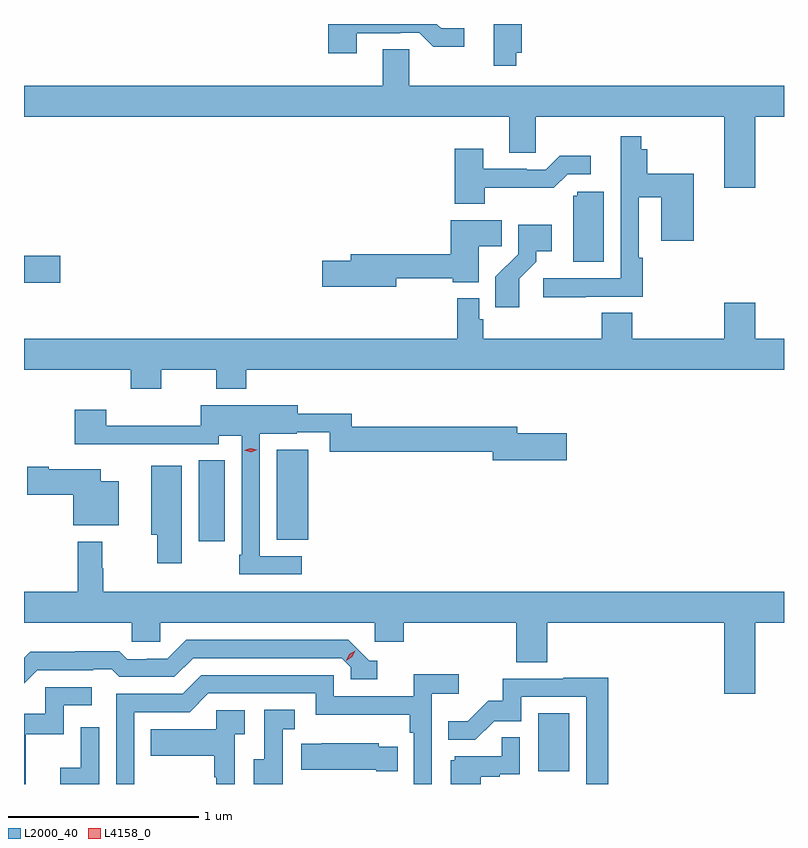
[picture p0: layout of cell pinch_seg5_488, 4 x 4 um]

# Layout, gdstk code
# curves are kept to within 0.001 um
import gdstk
lib = gdstk.Library(unit=1e-6, precision=1e-09)
def R(c, l, rs):  # rectangles x0, y0, x1, y1
    for r in rs: c.add(gdstk.rectangle(r[:2], r[2:], *l))
def P(c, l, *ps):  # polygons
    for p in ps: c.add(gdstk.Polygon(p, *l))
L2000_40 = (2000, 40)
L4158_0 = (4158, 0)

pinch_seg5_488 = lib.new_cell('pinch_seg5_488')
R(pinch_seg5_488, L2000_40, [(895.298,835.998,895.462,836.305), (893.51,837.21,893.647,837.635), (893.921,837.217,894.088,837.691), (892.591,838.57,892.783,838.712)])
P(pinch_seg5_488, L2000_40, [(895.181,839.78),(895.211,839.78),(895.211,839.932),(895.064,839.932),(895.064,839.712),(895.181,839.712)],
  [(894.343,839.883),(894.572,839.883),(894.572,839.886),(894.672,839.886),(894.745,839.813),(894.907,839.813),(894.907,839.91),(894.786,839.91),(894.764,839.932),(894.191,839.932),(894.191,839.778),(894.343,839.778)],
  [(896.44,839.444),(896.591,839.444),(896.591,839.608),(894.618,839.608),(894.618,839.798),(894.479,839.798),(894.479,839.608),(892.591,839.608),(892.591,839.444),(895.145,839.444),(895.145,839.254),(895.284,839.254),(895.284,839.444),(896.276,839.444),(896.276,839.07),(896.44,839.07)],
  [(895.547,838.497),(895.847,838.497),(895.847,838.703),(895.827,838.703),(895.827,839.021),(895.946,839.021),(895.946,838.791),(896.117,838.791),(896.117,839.143),(895.872,839.143),(895.872,839.272),(895.84,839.272),(895.84,839.341),(895.731,839.341),(895.731,838.593),(895.323,838.593),(895.323,838.495),(895.547,838.495)],
  [(895.017,839.07),(895.379,839.069),(895.452,839.142),(895.573,839.142),(895.573,839.239),(895.411,839.239),(895.338,839.166),(895.238,839.166),(895.238,839.169),(895.009,839.169),(895.009,839.275),(894.857,839.275),(894.857,838.985),(895.017,838.985)],
  [(895.642,839.049),(895.503,839.049),(895.503,839.028),(895.481,839.028),(895.481,838.68),(895.642,838.68)],
  [(894.55,838.593),(894.848,838.593),(894.848,838.574),(894.985,838.574),(894.985,838.762),(895.106,838.762),(895.106,838.9),(894.836,838.9),(894.836,838.721),(894.311,838.721),(894.311,838.685),(894.162,838.685),(894.162,838.55),(894.55,838.55)],
  [(895.198,838.591),(895.288,838.681),(895.288,838.736),(895.369,838.736),(895.369,838.876),(895.191,838.876),(895.191,838.721),(895.072,838.602),(895.072,838.44),(895.198,838.44)],
  [(896.591,838.276),(896.44,838.276),(896.44,838.465),(896.276,838.465),(896.276,838.276),(895.791,838.276),(895.791,838.412),(895.631,838.412),(895.631,838.276),(895.007,838.276),(895.007,838.377),(894.987,838.377),(894.987,838.489),(894.871,838.489),(894.871,838.276),(892.591,838.276),(892.591,838.112),(893.153,838.112),(893.153,838.013),(893.313,838.013),(893.313,838.112),(893.602,838.112),(893.602,838.013),(893.762,838.013),(893.762,838.112),(896.591,838.112)],
  [(894.052,837.132),(893.832,837.132),(893.832,837.776),(894.027,837.776),(894.027,837.783),(894.201,837.783),(894.201,837.682),(895.058,837.682),(895.058,837.635),(895.447,837.635),(895.447,837.777),(895.186,837.777),(895.186,837.811),(894.317,837.811),(894.317,837.882),(894.031,837.882),(894.031,837.925),(893.52,837.925),(893.52,837.818),(893.024,837.818),(893.024,837.901),(892.859,837.901),(892.859,837.719),(893.107,837.719),(893.107,837.72),(893.616,837.72),(893.616,837.764),(893.736,837.764),(893.736,837.139),(893.724,837.139),(893.724,837.036),(894.052,837.036)],
  [(893.422,837.607),(893.261,837.607),(893.261,837.245),(893.293,837.245),(893.293,837.093),(893.422,837.093)],
  [(893.089,837.526),(892.996,837.526),(892.996,837.589),(892.72,837.589),(892.72,837.602),(892.608,837.602),(892.608,837.455),(892.85,837.455),(892.85,837.293),(893.089,837.293)],
  [(896.44,836.78),(896.591,836.78),(896.591,836.944),(893.009,836.944),(893.009,837.068),(893.002,837.068),(893.002,837.208),(892.873,837.208),(892.873,836.944),(892.591,836.944),(892.591,836.78),(893.157,836.78),(893.157,836.682),(893.307,836.682),(893.307,836.78),(894.438,836.78),(894.438,836.682),(894.59,836.682),(894.59,836.78),(895.181,836.78),(895.181,836.572),(895.346,836.572),(895.346,836.78),(896.276,836.78),(896.276,836.406),(896.44,836.406)],
  [(892.662,836.532),(892.955,836.532),(892.955,836.535),(893.054,836.535),(893.093,836.496),(893.382,836.496),(893.481,836.595),(894.264,836.595),(894.312,836.547),(894.312,836.484),(894.451,836.484),(894.451,836.58),(894.408,836.58),(894.297,836.691),(893.444,836.691),(893.345,836.592),(893.238,836.592),(893.238,836.589),(893.135,836.589),(893.093,836.632),(892.86,836.632),(892.86,836.629),(892.624,836.629),(892.591,836.596),(892.591,836.461)],
  [(893.172,836.31),(893.463,836.31),(893.562,836.409),(894.126,836.409),(894.126,836.297),(894.622,836.297),(894.622,836.201),(894.642,836.201),(894.642,835.932),(894.738,835.932),(894.738,836.408),(894.88,836.408),(894.88,836.51),(894.641,836.51),(894.641,836.394),(894.222,836.394),(894.222,836.505),(893.525,836.505),(893.426,836.406),(893.076,836.406),(893.076,835.932),(893.172,835.932)],
  [(895.667,836.492),(895.429,836.492),(895.429,836.487),(895.111,836.487),(895.111,836.37),(895.034,836.37),(894.927,836.263),(894.823,836.263),(894.823,836.164),(894.967,836.164),(895.065,836.262),(895.209,836.262),(895.209,836.391),(895.551,836.391),(895.551,835.932),(895.667,835.932)],
  [(892.601,836.193),(892.8,836.193),(892.8,836.346),(892.948,836.346),(892.948,836.442),(892.704,836.442),(892.704,836.301),(892.591,836.301),(892.591,835.932),(892.601,835.932)],
  [(893.952,836.221),(894.016,836.221),(894.016,836.324),(893.856,836.324),(893.856,836.061),(893.801,836.061),(893.801,835.932),(893.952,835.932)],
  [(893.7,836.195),(893.752,836.195),(893.752,836.319),(893.604,836.319),(893.604,836.221),(893.257,836.221),(893.257,836.081),(893.592,836.081),(893.592,835.967),(893.602,835.967),(893.602,835.932),(893.7,835.932)],
  [(892.986,836.23),(892.89,836.23),(892.89,836.018),(892.781,836.018),(892.781,835.932),(892.986,835.932)],
  [(894.994,835.971),(895.094,835.971),(895.094,835.983),(895.2,835.983),(895.2,836.177),(895.105,836.177),(895.105,836.079),(894.858,836.079),(894.858,836.058),(894.836,836.058),(894.836,835.932),(894.994,835.932)],
  [(894.557,836.128),(894.459,836.128),(894.459,836.146),(894.157,836.146),(894.157,836.143),(894.049,836.143),(894.049,836.006),(894.446,836.006),(894.446,835.999),(894.557,835.999)])
P(pinch_seg5_488, L4158_0, [(893.784,837.679),(893.749,837.688),(893.749,837.688),(893.749,837.689),(893.783,837.699),(893.818,837.69),(893.819,837.69),(893.818,837.69)],
  [(894.287,836.582),(894.287,836.582),(894.303,836.615),(894.334,836.634),(894.334,836.634),(894.334,836.634),(894.318,836.601),(894.287,836.582)])

lib.write_gds('pinch_seg5_488.gds')
